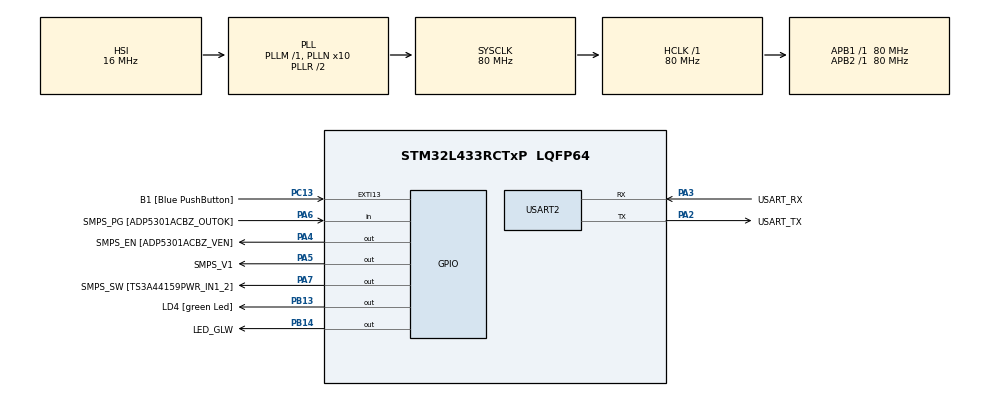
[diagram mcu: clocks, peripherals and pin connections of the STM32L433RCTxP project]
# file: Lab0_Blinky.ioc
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Mcu.Family=STM32L4
Mcu.Name=STM32L433RCTxP
Mcu.Package=LQFP64
NVIC.PriorityGroup=NVIC_PRIORITYGROUP_4
PA13\ (JTMS-SWDIO).GPIO_Label=TMS
PA13\ (JTMS-SWDIO).Mode=Serial_Wire
PA13\ (JTMS-SWDIO).Signal=SYS_JTMS-SWDIO
PA14\ (JTCK-SWCLK).GPIO_Label=TCK
PA14\ (JTCK-SWCLK).Mode=Serial_Wire
PA14\ (JTCK-SWCLK).Signal=SYS_JTCK-SWCLK
PA2.GPIO_Label=USART_TX
PA2.GPIO_Mode=GPIO_MODE_AF_PP
PA2.GPIO_PuPd=GPIO_NOPULL
PA2.GPIO_Speed=GPIO_SPEED_FREQ_VERY_HIGH
PA2.Mode=Asynchronous
PA2.Signal=USART2_TX
PA3.GPIO_Label=USART_RX
PA3.GPIO_Mode=GPIO_MODE_AF_PP
PA3.GPIO_PuPd=GPIO_NOPULL
PA3.GPIO_Speed=GPIO_SPEED_FREQ_VERY_HIGH
PA3.Mode=Asynchronous
PA3.Signal=USART2_RX
PA4.GPIO_Label=SMPS_EN [ADP5301ACBZ_VEN]
PA4.Signal=GPIO_Output
PA5.GPIO_Label=SMPS_V1
PA5.GPIO_ModeDefaultOutputPP=GPIO_MODE_OUTPUT_PP
PA5.GPIO_PuPd=GPIO_NOPULL
PA5.GPIO_Speed=GPIO_SPEED_FREQ_LOW
PA5.Signal=GPIO_Output
PA6.GPIO_Label=SMPS_PG [ADP5301ACBZ_OUTOK]
PA6.GPIO_PuPd=GPIO_PULLUP
PA6.Signal=GPIO_Input
PA7.GPIO_Label=SMPS_SW [TS3A44159PWR_IN1_2]
PA7.Signal=GPIO_Output
PB13.GPIO_Label=LD4 [green Led]
PB13.Signal=GPIO_Output
PB14.GPIO_Label=LED_GLW
PB14.Signal=GPIO_Output
PB3\ (JTDO-TRACESWO).GPIO_Label=SWO
PB3\ (JTDO-TRACESWO).Signal=SYS_JTDO-SWO
PC13.GPIO_Label=B1 [Blue PushButton]
PC13.GPIO_ModeDefaultEXTI=GPIO_MODE_IT_FALLING
PC13.GPIO_PuPd=GPIO_NOPULL
PC13.Signal=GPXTI13
PC14-OSC32_IN\ (PC14).Mode=LSE-External-Oscillator
PC14-OSC32_IN\ (PC14).Signal=RCC_OSC32_IN
PC15-OSC32_OUT\ (PC15).Mode=LSE-External-Oscillator
PC15-OSC32_OUT\ (PC15).Signal=RCC_OSC32_OUT
PH0-OSC_IN\ (PH0).GPIO_Label=MCO
PH0-OSC_IN\ (PH0).Mode=HSE-External-Clock-Source
PH0-OSC_IN\ (PH0).Signal=RCC_OSC_IN
PH1-OSC_OUT\ (PH1).Signal=RCC_OSC_OUT
ProjectManager.HeapSize=0x200
ProjectManager.StackSize=0x400
ProjectManager.TargetToolchain=STM32CubeIDE
RCC.ADCFreq_Value=64000000
RCC.AHBFreq_Value=80000000
RCC.APB1Freq_Value=80000000
RCC.APB1TimFreq_Value=80000000
RCC.APB2Freq_Value=80000000
RCC.APB2TimFreq_Value=80000000
RCC.CortexFreq_Value=80000000
RCC.HCLKFreq_Value=80000000
RCC.HSE_VALUE=8000000
RCC.HSI48_VALUE=48000000
RCC.HSI_VALUE=16000000
RCC.MSI_VALUE=4000000
RCC.PLLN=10
RCC.PLLSourceVirtual=RCC_PLLSOURCE_HSI
RCC.PREFETCH_ENABLE=1
RCC.SYSCLKFreq_VALUE=80000000
RCC.SYSCLKSource=RCC_SYSCLKSOURCE_PLLCLK
RCC.USBFreq_Value=64000000
RCC.VCOOutputFreq_Value=160000000
USART2.VirtualMode-Asynchronous=VM_ASYNC
board=NUCLEO-L433RC-P

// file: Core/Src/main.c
/* USER CODE BEGIN Header */
/**
  ******************************************************************************
  * @file           : main.c
  * @brief          : Main program body
  ******************************************************************************
  * @attention
  *
  * Copyright (c) 2025 STMicroelectronics.
  * All rights reserved.
  *
  * This software is licensed under terms that can be found in the LICENSE file
  * in the root directory of this software component.
  * If no LICENSE file comes with this software, it is provided AS-IS.
  *
  ******************************************************************************
  */
/* USER CODE END Header */
#include "main.h"

/* USER CODE BEGIN Includes */
#include <stdio.h>
/* USER CODE END Includes */

UART_HandleTypeDef huart2;

void SystemClock_Config(void);
static void MX_GPIO_Init(void);
static void MX_USART2_UART_Init(void);

int main(void)
{

  /* MCU Configuration--------------------------------------------------------*/

  /* Reset of all peripherals, Initializes the Flash interface and the Systick. */
  HAL_Init();

  /* Configure the system clock */
  SystemClock_Config();

  /* Initialize all configured peripherals */
  MX_GPIO_Init();
  MX_USART2_UART_Init();

  /* Infinite loop */
  /* USER CODE BEGIN WHILE */
  char str[81] = {'\0'};
  uint16_t str_len = 0;
  int nblink = 0; //number of blinks

  while (1)
  {
	  HAL_GPIO_WritePin(LD4_GPIO_Port, LD4_Pin, GPIO_PIN_SET);
	  HAL_GPIO_TogglePin(LED_GLW_GPIO_Port, LED_GLW_Pin);
	  HAL_Delay(200);
	  HAL_GPIO_TogglePin(LED_GLW_GPIO_Port, LED_GLW_Pin);

	  HAL_GPIO_WritePin(LD4_GPIO_Port, LD4_Pin, GPIO_PIN_RESET);
	  HAL_Delay(800);

	  nblink++;
	  str_len = sprintf(str, "Blinky has succeded %d times!\r\n", nblink);
	  HAL_UART_Transmit(&huart2, (uint8_t*) str, str_len, HAL_MAX_DELAY);
	  HAL_GPIO_TogglePin(LED_GLW_GPIO_Port, LED_GLW_Pin);
	  HAL_Delay(200);

    /* USER CODE END WHILE */

  }
}

void SystemClock_Config(void)
{
  RCC_OscInitTypeDef RCC_OscInitStruct = {0};
  RCC_ClkInitTypeDef RCC_ClkInitStruct = {0};

  /** Configure the main internal regulator output voltage
  */
  if (HAL_PWREx_ControlVoltageScaling(PWR_REGULATOR_VOLTAGE_SCALE1) != HAL_OK)
  {
    Error_Handler();
  }

  /** Initializes the RCC Oscillators according to the specified parameters
  * in the RCC_OscInitTypeDef structure.
  */
  RCC_OscInitStruct.OscillatorType = RCC_OSCILLATORTYPE_HSI;
  RCC_OscInitStruct.HSIState = RCC_HSI_ON;
  RCC_OscInitStruct.HSICalibrationValue = RCC_HSICALIBRATION_DEFAULT;
  RCC_OscInitStruct.PLL.PLLState = RCC_PLL_ON;
  RCC_OscInitStruct.PLL.PLLSource = RCC_PLLSOURCE_HSI;
  RCC_OscInitStruct.PLL.PLLM = 1;
  RCC_OscInitStruct.PLL.PLLN = 10;
  RCC_OscInitStruct.PLL.PLLP = RCC_PLLP_DIV7;
  RCC_OscInitStruct.PLL.PLLQ = RCC_PLLQ_DIV2;
  RCC_OscInitStruct.PLL.PLLR = RCC_PLLR_DIV2;
  if (HAL_RCC_OscConfig(&RCC_OscInitStruct) != HAL_OK)
  {
    Error_Handler();
  }

  /** Initializes the CPU, AHB and APB buses clocks
  */
  RCC_ClkInitStruct.ClockType = RCC_CLOCKTYPE_HCLK|RCC_CLOCKTYPE_SYSCLK
                              |RCC_CLOCKTYPE_PCLK1|RCC_CLOCKTYPE_PCLK2;
  RCC_ClkInitStruct.SYSCLKSource = RCC_SYSCLKSOURCE_PLLCLK;
  RCC_ClkInitStruct.AHBCLKDivider = RCC_SYSCLK_DIV1;
  RCC_ClkInitStruct.APB1CLKDivider = RCC_HCLK_DIV1;
  RCC_ClkInitStruct.APB2CLKDivider = RCC_HCLK_DIV1;

  if (HAL_RCC_ClockConfig(&RCC_ClkInitStruct, FLASH_LATENCY_4) != HAL_OK)
  {
    Error_Handler();
  }
}

static void MX_USART2_UART_Init(void)
{

  huart2.Instance = USART2;
  huart2.Init.BaudRate = 115200;
  huart2.Init.WordLength = UART_WORDLENGTH_8B;
  huart2.Init.StopBits = UART_STOPBITS_1;
  huart2.Init.Parity = UART_PARITY_NONE;
  huart2.Init.Mode = UART_MODE_TX_RX;
  huart2.Init.HwFlowCtl = UART_HWCONTROL_NONE;
  huart2.Init.OverSampling = UART_OVERSAMPLING_16;
  huart2.Init.OneBitSampling = UART_ONE_BIT_SAMPLE_DISABLE;
  huart2.AdvancedInit.AdvFeatureInit = UART_ADVFEATURE_NO_INIT;
  if (HAL_UART_Init(&huart2) != HAL_OK)
  {
    Error_Handler();
  }

}

static void MX_GPIO_Init(void)
{
  GPIO_InitTypeDef GPIO_InitStruct = {0};

  /* GPIO Ports Clock Enable */
  __HAL_RCC_GPIOC_CLK_ENABLE();
  __HAL_RCC_GPIOH_CLK_ENABLE();
  __HAL_RCC_GPIOA_CLK_ENABLE();
  __HAL_RCC_GPIOB_CLK_ENABLE();

  /*Configure GPIO pin Output Level */
  HAL_GPIO_WritePin(GPIOA, SMPS_EN_Pin|SMPS_V1_Pin|SMPS_SW_Pin, GPIO_PIN_RESET);

  /*Configure GPIO pin Output Level */
  HAL_GPIO_WritePin(GPIOB, LD4_Pin|LED_GLW_Pin, GPIO_PIN_RESET);

  /*Configure GPIO pin : B1_Pin */
  GPIO_InitStruct.Pin = B1_Pin;
  GPIO_InitStruct.Mode = GPIO_MODE_IT_FALLING;
  GPIO_InitStruct.Pull = GPIO_NOPULL;
  HAL_GPIO_Init(B1_GPIO_Port, &GPIO_InitStruct);

  /*Configure GPIO pins : SMPS_EN_Pin SMPS_V1_Pin SMPS_SW_Pin */
  GPIO_InitStruct.Pin = SMPS_EN_Pin|SMPS_V1_Pin|SMPS_SW_Pin;
  GPIO_InitStruct.Mode = GPIO_MODE_OUTPUT_PP;
  GPIO_InitStruct.Pull = GPIO_NOPULL;
  GPIO_InitStruct.Speed = GPIO_SPEED_FREQ_LOW;
  HAL_GPIO_Init(GPIOA, &GPIO_InitStruct);

  /*Configure GPIO pin : SMPS_PG_Pin */
  GPIO_InitStruct.Pin = SMPS_PG_Pin;
  GPIO_InitStruct.Mode = GPIO_MODE_INPUT;
  GPIO_InitStruct.Pull = GPIO_PULLUP;
  HAL_GPIO_Init(SMPS_PG_GPIO_Port, &GPIO_InitStruct);

  /*Configure GPIO pins : LD4_Pin LED_GLW_Pin */
  GPIO_InitStruct.Pin = LD4_Pin|LED_GLW_Pin;
  GPIO_InitStruct.Mode = GPIO_MODE_OUTPUT_PP;
  GPIO_InitStruct.Pull = GPIO_NOPULL;
  GPIO_InitStruct.Speed = GPIO_SPEED_FREQ_LOW;
  HAL_GPIO_Init(GPIOB, &GPIO_InitStruct);

}

void Error_Handler(void)
{
  __disable_irq();
  while (1)
  {
  }
}
